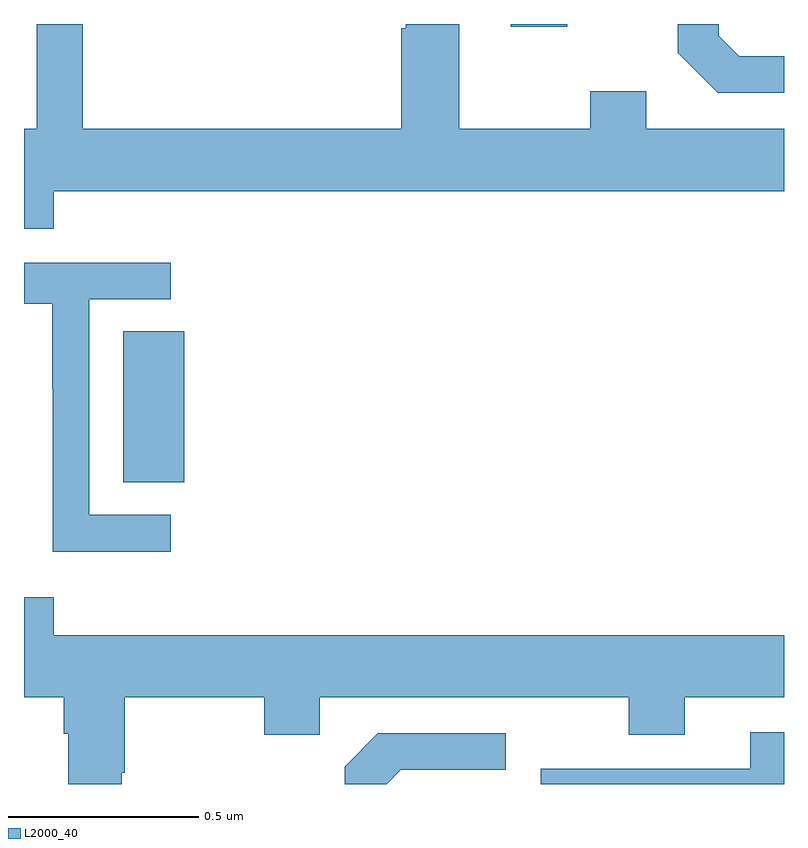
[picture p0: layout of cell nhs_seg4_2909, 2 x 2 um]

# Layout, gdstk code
import gdstk
lib = gdstk.Library(unit=1e-6, precision=1e-09)
def R(c, l, rs):  # rectangles x0, y0, x1, y1
    for r in rs: c.add(gdstk.rectangle(r[:2], r[2:], *l))
def P(c, l, *ps):  # polygons
    for p in ps: c.add(gdstk.Polygon(p, *l))
L2000_40 = (2000, 40)

nhs_seg4_2909 = lib.new_cell('nhs_seg4_2909')
R(nhs_seg4_2909, L2000_40, [(146.261,822.694,146.422,823.091), (147.281,823.893,147.43,823.9)])
P(nhs_seg4_2909, L2000_40, [(146.078,823.46),(148,823.46),(148,823.624),(147.637,823.624),(147.637,823.723),(147.49,823.723),(147.49,823.624),(147.145,823.624),(147.145,823.9),(147.005,823.9),(147.005,823.889),(146.993,823.889),(146.993,823.624),(146.155,823.624),(146.155,823.9),(146.033,823.9),(146.033,823.624),(146,823.624),(146,823.361),(146.078,823.361)],
  [(148,823.815),(147.882,823.815),(147.828,823.869),(147.828,823.9),(147.72,823.9),(147.72,823.825),(147.825,823.719),(148,823.719)],
  [(146.386,822.609),(146.172,822.609),(146.172,823.176),(146.386,823.176),(146.386,823.272),(146,823.272),(146,823.164),(146.074,823.164),(146.074,822.94),(146.076,822.94),(146.076,822.511),(146.386,822.511)],
  [(146.257,821.929),(146.265,821.929),(146.265,822.128),(146.632,822.128),(146.632,822.029),(146.778,822.029),(146.778,822.128),(147.592,822.128),(147.592,822.029),(147.739,822.029),(147.739,822.128),(148,822.128),(148,822.292),(146.078,822.292),(146.078,822.391),(146,822.391),(146,822.128),(146.105,822.128),(146.105,822.032),(146.117,822.032),(146.117,821.9),(146.257,821.9)],
  [(148,822.036),(147.911,822.036),(147.911,821.94),(147.36,821.94),(147.36,821.9),(148,821.9)],
  [(146.991,821.937),(147.268,821.937),(147.268,822.033),(146.931,822.033),(146.844,821.946),(146.844,821.9),(146.954,821.9)])

lib.write_gds('nhs_seg4_2909.gds')
